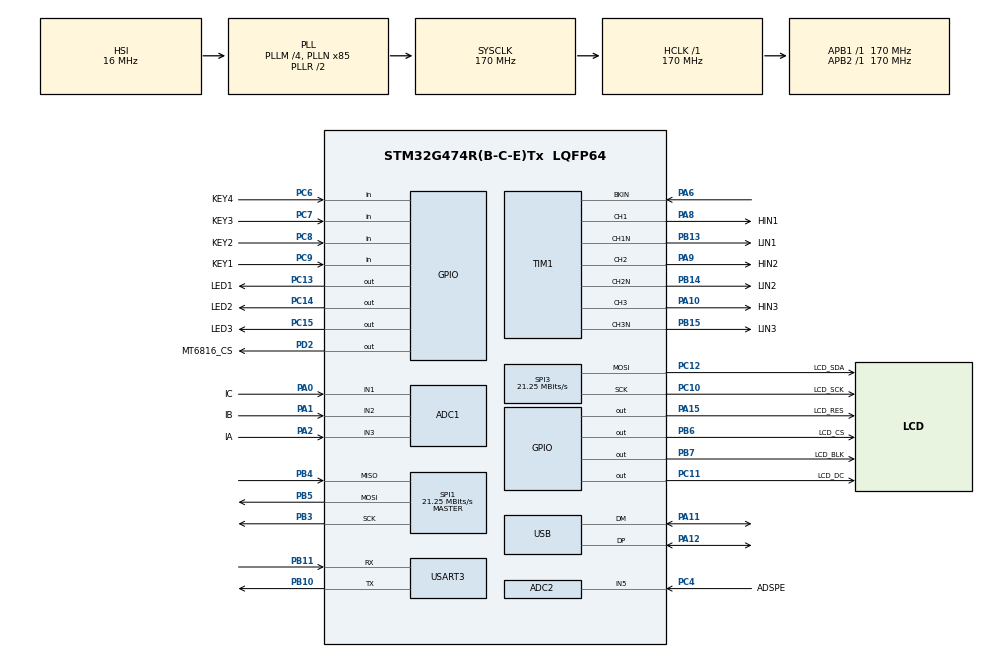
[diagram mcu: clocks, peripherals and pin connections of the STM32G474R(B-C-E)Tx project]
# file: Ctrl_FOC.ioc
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ADC1.EnableInjectedConversion=ENABLE
ADC1.EnableRegularConversion=DISABLE
ADC1.ExternalTrigInjecConv=ADC_EXTERNALTRIGINJEC_T1_CC4
ADC1.InjNumberOfConversion=3
ADC1.InjectedChannel-1\#ChannelInjectedConversion=ADC_CHANNEL_3
ADC1.InjectedChannel-2\#ChannelInjectedConversion=ADC_CHANNEL_2
ADC1.InjectedChannel-3\#ChannelInjectedConversion=ADC_CHANNEL_1
ADC1.InjectedOffsetNumber-1\#ChannelInjectedConversion=ADC_OFFSET_NONE
ADC1.InjectedOffsetNumber-2\#ChannelInjectedConversion=ADC_OFFSET_NONE
ADC1.InjectedOffsetNumber-3\#ChannelInjectedConversion=ADC_OFFSET_NONE
ADC1.InjectedRank-1\#ChannelInjectedConversion=1
ADC1.InjectedRank-2\#ChannelInjectedConversion=2
ADC1.InjectedRank-3\#ChannelInjectedConversion=3
ADC1.InjectedSamplingTime-1\#ChannelInjectedConversion=ADC_SAMPLETIME_2CYCLES_5
ADC1.InjectedSamplingTime-2\#ChannelInjectedConversion=ADC_SAMPLETIME_2CYCLES_5
ADC1.InjectedSamplingTime-3\#ChannelInjectedConversion=ADC_SAMPLETIME_2CYCLES_5
ADC1.Rank1_Channel=ADC_CHANNEL_3
ADC1.Rank2_Channel=ADC_CHANNEL_2
ADC1.Rank3_Channel=ADC_CHANNEL_1
ADC1.master=1
ADC2.Channel-0\#ChannelRegularConversion=ADC_CHANNEL_5
ADC2.NbrOfConversionFlag=1
ADC2.OffsetNumber-0\#ChannelRegularConversion=ADC_OFFSET_NONE
ADC2.Rank-0\#ChannelRegularConversion=1
ADC2.SamplingTime-0\#ChannelRegularConversion=ADC_SAMPLETIME_2CYCLES_5
Dma.Request0=USART3_TX
Dma.USART3_TX.0.Direction=DMA_MEMORY_TO_PERIPH
Dma.USART3_TX.0.EventEnable=DISABLE
Dma.USART3_TX.0.Instance=DMA1_Channel1
Dma.USART3_TX.0.MemDataAlignment=DMA_MDATAALIGN_BYTE
Dma.USART3_TX.0.MemInc=DMA_MINC_ENABLE
Dma.USART3_TX.0.Mode=DMA_NORMAL
Dma.USART3_TX.0.PeriphDataAlignment=DMA_PDATAALIGN_BYTE
Dma.USART3_TX.0.PeriphInc=DMA_PINC_DISABLE
Dma.USART3_TX.0.Polarity=HAL_DMAMUX_REQ_GEN_RISING
Dma.USART3_TX.0.Priority=DMA_PRIORITY_LOW
Dma.USART3_TX.0.RequestNumber=1
Dma.USART3_TX.0.SignalID=NONE
Dma.USART3_TX.0.SyncEnable=DISABLE
Dma.USART3_TX.0.SyncPolarity=HAL_DMAMUX_SYNC_NO_EVENT
Dma.USART3_TX.0.SyncRequestNumber=1
Dma.USART3_TX.0.SyncSignalID=NONE
Mcu.Family=STM32G4
Mcu.Name=STM32G474R(B-C-E)Tx
Mcu.Package=LQFP64
NVIC.ADC1_2_IRQn=true\:0\:0\:false\:false\:true\:true\:true\:true
NVIC.DMA1_Channel1_IRQn=true\:6\:0\:true\:false\:true\:false\:true\:true
NVIC.PriorityGroup=NVIC_PRIORITYGROUP_4
NVIC.TIM1_TRG_COM_TIM17_IRQn=true\:6\:0\:true\:false\:true\:true\:true\:true
NVIC.TIM2_IRQn=true\:0\:0\:false\:false\:true\:true\:true\:true
NVIC.TIM6_DAC_IRQn=true\:15\:0\:false\:false\:true\:false\:true\:true
NVIC.TIM7_DAC_IRQn=true\:0\:0\:false\:false\:true\:true\:true\:true
NVIC.TimeBase=TIM6_DAC_IRQn
NVIC.TimeBaseIP=TIM6
NVIC.USART3_IRQn=true\:6\:0\:true\:false\:true\:true\:true\:true
NVIC.USB_LP_IRQn=true\:6\:0\:true\:false\:true\:false\:true\:true
PA0.GPIO_Label=IC
PA0.Mode=IN1-Single-Ended
PA0.Signal=ADC1_IN1
PA1.GPIO_Label=IB
PA1.Mode=IN2-Single-Ended
PA1.Signal=ADC1_IN2
PA10.GPIO_Label=HIN3
PA10.Signal=S_TIM1_CH3
PA11.Mode=Device
PA11.Signal=USB_DM
PA12.Mode=Device
PA12.Signal=USB_DP
PA13.Mode=Serial_Wire
PA13.Signal=SYS_JTMS-SWDIO
PA14.Mode=Serial_Wire
PA14.Signal=SYS_JTCK-SWCLK
PA15.GPIO_Label=LCD_RES
PA15.Signal=GPIO_Output
PA2.GPIO_Label=IA
PA2.Mode=IN3-Single-Ended
PA2.Signal=ADC1_IN3
PA6.Mode=Activate-Break-Input
PA6.Signal=TIM1_BKIN
PA8.GPIO_Label=HIN1
PA8.Signal=S_TIM1_CH1
PA9.GPIO_Label=HIN2
PA9.Signal=S_TIM1_CH2
PB10.Mode=Asynchronous
PB10.Signal=USART3_TX
PB11.Mode=Asynchronous
PB11.Signal=USART3_RX
PB13.GPIO_Label=LIN1
PB13.Mode=PWM Generation1 CH1 CH1N
PB13.Signal=TIM1_CH1N
PB14.GPIO_Label=LIN2
PB14.Mode=PWM Generation2 CH2 CH2N
PB14.Signal=TIM1_CH2N
PB15.GPIO_Label=LIN3
PB15.Mode=PWM Generation3 CH3 CH3N
PB15.Signal=TIM1_CH3N
PB3.Mode=Full_Duplex_Master
PB3.Signal=SPI1_SCK
PB4.Mode=Full_Duplex_Master
PB4.Signal=SPI1_MISO
PB5.Mode=Full_Duplex_Master
PB5.Signal=SPI1_MOSI
PB6.GPIO_Label=LCD_CS
PB6.Signal=GPIO_Output
PB7.GPIO_Label=LCD_BLK
PB7.Signal=GPIO_Output
PC10.GPIO_Label=LCD_SCK
PC10.Mode=TX_Only_Simplex_Unidirect_Master
PC10.Signal=SPI3_SCK
PC11.GPIO_Label=LCD_DC
PC11.Signal=GPIO_Output
PC12.GPIO_Label=LCD_SDA
PC12.Mode=TX_Only_Simplex_Unidirect_Master
PC12.Signal=SPI3_MOSI
PC13.GPIO_Label=LED1
PC13.Signal=GPIO_Output
PC14-OSC32_IN.GPIO_Label=LED2
PC14-OSC32_IN.Signal=GPIO_Output
PC15-OSC32_OUT.GPIO_Label=LED3
PC15-OSC32_OUT.Signal=GPIO_Output
PC4.GPIO_Label=ADSPE
PC4.Mode=IN5-Single-Ended
PC4.Signal=ADC2_IN5
PC6.GPIO_Label=KEY4
PC6.GPIO_PuPd=GPIO_PULLUP
PC6.Signal=GPIO_Input
PC7.GPIO_Label=KEY3
PC7.GPIO_PuPd=GPIO_PULLUP
PC7.Signal=GPIO_Input
PC8.GPIO_Label=KEY2
PC8.GPIO_PuPd=GPIO_PULLUP
PC8.Signal=GPIO_Input
PC9.GPIO_Label=KEY1
PC9.GPIO_PuPd=GPIO_PULLUP
PC9.Signal=GPIO_Input
PD2.GPIO_Label=MT6816_CS
PD2.Signal=GPIO_Output
PF0-OSC_IN.Mode=HSE-External-Oscillator
PF0-OSC_IN.Signal=RCC_OSC_IN
PF1-OSC_OUT.Mode=HSE-External-Oscillator
PF1-OSC_OUT.Signal=RCC_OSC_OUT
ProjectManager.HeapSize=0x200
ProjectManager.StackSize=0x400
ProjectManager.TargetToolchain=CMake
RCC.ADC12Freq_Value=170000000
RCC.ADC345Freq_Value=170000000
RCC.AHBFreq_Value=170000000
RCC.APB1Freq_Value=170000000
RCC.APB1TimFreq_Value=170000000
RCC.APB2Freq_Value=170000000
RCC.APB2TimFreq_Value=170000000
RCC.CK48CLockSelection=RCC_USBCLKSOURCE_HSI48
RCC.CortexFreq_Value=170000000
RCC.EXTERNAL_CLOCK_VALUE=12288000
RCC.HCLKFreq_Value=170000000
RCC.HSE_VALUE=8000000
RCC.HSI48_VALUE=48000000
RCC.HSI_VALUE=16000000
RCC.LSE_VALUE=32768
RCC.PLLM=RCC_PLLM_DIV4
RCC.PLLN=85
RCC.PLLQ=RCC_PLLQ_DIV4
RCC.SYSCLKFreq_VALUE=170000000
RCC.SYSCLKSource=RCC_SYSCLKSOURCE_PLLCLK
RCC.USBFreq_Value=48000000
RCC.VCOOutputFreq_Value=340000000
SH.S_TIM1_CH1.0=TIM1_CH1,PWM Generation1 CH1 CH1N
SH.S_TIM1_CH2.0=TIM1_CH2,PWM Generation2 CH2 CH2N
SH.S_TIM1_CH3.0=TIM1_CH3,PWM Generation3 CH3 CH3N
SPI1.BaudRatePrescaler=SPI_BAUDRATEPRESCALER_8
SPI1.CLKPhase=SPI_PHASE_2EDGE
SPI1.CLKPolarity=SPI_POLARITY_HIGH
SPI1.CalculateBaudRate=21.25 MBits/s
SPI1.DataSize=SPI_DATASIZE_16BIT
SPI1.Direction=SPI_DIRECTION_2LINES
SPI1.Mode=SPI_MODE_MASTER
SPI1.VirtualType=VM_MASTER
SPI3.BaudRatePrescaler=SPI_BAUDRATEPRESCALER_8
SPI3.CLKPolarity=SPI_POLARITY_HIGH
SPI3.CalculateBaudRate=21.25 MBits/s
SPI3.DataSize=SPI_DATASIZE_8BIT
SPI3.Direction=SPI_DIRECTION_2LINES
SPI3.Mode=SPI_MODE_MASTER
SPI3.VirtualType=VM_MASTER
STMicroelectronics.X-CUBE-ALGOBUILD.1.4.0.LibraryCcDSPOoLibraryJjDSPOoLibrary=true
TIM1.Channel-PWM\ Generation1\ CH1\ CH1N=TIM_CHANNEL_1
TIM1.Channel-PWM\ Generation2\ CH2\ CH2N=TIM_CHANNEL_2
TIM1.Channel-PWM\ Generation3\ CH3\ CH3N=TIM_CHANNEL_3
TIM1.Channel-PWM\ Generation4\ No\ Output=TIM_CHANNEL_4
TIM1.OCMode_PWM-PWM\ Generation4\ No\ Output=TIM_OCMODE_PWM2
TIM1.PeriodNoDither=HALF_PWM_PERIOD_CYCLES
TIM1.PulseNoDither_4=HALF_PWM_PERIOD_CYCLES-2
TIM2.PeriodNoDither=1000-1
TIM2.Prescaler=72-1
TIM7.PeriodNoDither=9
TIM7.Prescaler=16999
USART3.VirtualMode-Asynchronous=VM_ASYNC
USB_DEVICE.APP_RX_DATA_SIZE=2048
USB_DEVICE.APP_TX_DATA_SIZE=2048
USB_DEVICE.CLASS_NAME_FS=CDC
USB_DEVICE.VirtualMode=Cdc
USB_DEVICE.VirtualModeFS=Cdc_FS
VP_STMicroelectronics.X-CUBE-ALGOBUILD_VS_DSPOoLibraryJjLibrary_1.4.0_1.4.0.Mode=DSPOoLibraryJjLibrary
VP_SYS_VS_DBSignals.Mode=DisableDeadBatterySignals
VP_SYS_VS_tim6.Mode=TIM6
VP_TIM1_VS_ClockSourceINT.Mode=Internal
VP_TIM1_VS_no_output4.Mode=PWM Generation4 No Output
VP_TIM2_VS_ClockSourceINT.Mode=Internal
VP_TIM7_VS_ClockSourceINT.Mode=Enable_Timer
VP_USB_DEVICE_VS_USB_DEVICE_CDC_FS.Mode=CDC_FS
board=custom

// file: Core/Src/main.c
/* USER CODE BEGIN Header */
/**
  ******************************************************************************
  * @file           : main.c
  * @brief          : Main program body
  ******************************************************************************
  * @attention
  *
  * Copyright (c) 2025 STMicroelectronics.
  * All rights reserved.
  *
  * This software is licensed under terms that can be found in the LICENSE file
  * in the root directory of this software component.
  * If no LICENSE file comes with this software, it is provided AS-IS.
  *
  ******************************************************************************
  */
/* USER CODE END Header */
#include "main.h"
#include "adc.h"
#include "dma.h"
#include "spi.h"
#include "tim.h"
#include "usart.h"
#include "usb_device.h"
#include "gpio.h"

/* USER CODE BEGIN Includes */
#include "retarget.h"
#include "app.h"
/* USER CODE END Includes */

void SystemClock_Config(void);

int main(void)
{

  /* MCU Configuration--------------------------------------------------------*/

  /* Reset of all peripherals, Initializes the Flash interface and the Systick. */
  HAL_Init();

  /* Configure the system clock */
  SystemClock_Config();

  /* Initialize all configured peripherals */
  MX_GPIO_Init();
  MX_DMA_Init();
  MX_USART3_UART_Init();
  MX_ADC1_Init();
  MX_ADC2_Init();
  MX_SPI1_Init();
  MX_SPI3_Init();
  MX_TIM1_Init();
  MX_TIM7_Init();
  MX_USB_Device_Init();
  MX_TIM2_Init();
  /* USER CODE BEGIN 2 */
  RetargetInit(&huart3);
  DWT_Delay_Init();
  app_main();
  /* USER CODE END 2 */

  /* Infinite loop */
  while (1)
  {

  }
}

void SystemClock_Config(void)
{
  RCC_OscInitTypeDef RCC_OscInitStruct = {0};
  RCC_ClkInitTypeDef RCC_ClkInitStruct = {0};

  /** Configure the main internal regulator output voltage
  */
  HAL_PWREx_ControlVoltageScaling(PWR_REGULATOR_VOLTAGE_SCALE1_BOOST);

  /** Initializes the RCC Oscillators according to the specified parameters
  * in the RCC_OscInitTypeDef structure.
  */
  RCC_OscInitStruct.OscillatorType = RCC_OSCILLATORTYPE_HSI|RCC_OSCILLATORTYPE_HSI48;
  RCC_OscInitStruct.HSIState = RCC_HSI_ON;
  RCC_OscInitStruct.HSICalibrationValue = RCC_HSICALIBRATION_DEFAULT;
  RCC_OscInitStruct.HSI48State = RCC_HSI48_ON;
  RCC_OscInitStruct.PLL.PLLState = RCC_PLL_ON;
  RCC_OscInitStruct.PLL.PLLSource = RCC_PLLSOURCE_HSI;
  RCC_OscInitStruct.PLL.PLLM = RCC_PLLM_DIV4;
  RCC_OscInitStruct.PLL.PLLN = 85;
  RCC_OscInitStruct.PLL.PLLP = RCC_PLLP_DIV2;
  RCC_OscInitStruct.PLL.PLLQ = RCC_PLLQ_DIV4;
  RCC_OscInitStruct.PLL.PLLR = RCC_PLLR_DIV2;
  if (HAL_RCC_OscConfig(&RCC_OscInitStruct) != HAL_OK)
  {
    Error_Handler();
  }

  /** Initializes the CPU, AHB and APB buses clocks
  */
  RCC_ClkInitStruct.ClockType = RCC_CLOCKTYPE_HCLK|RCC_CLOCKTYPE_SYSCLK
                              |RCC_CLOCKTYPE_PCLK1|RCC_CLOCKTYPE_PCLK2;
  RCC_ClkInitStruct.SYSCLKSource = RCC_SYSCLKSOURCE_PLLCLK;
  RCC_ClkInitStruct.AHBCLKDivider = RCC_SYSCLK_DIV1;
  RCC_ClkInitStruct.APB1CLKDivider = RCC_HCLK_DIV1;
  RCC_ClkInitStruct.APB2CLKDivider = RCC_HCLK_DIV1;

  if (HAL_RCC_ClockConfig(&RCC_ClkInitStruct, FLASH_LATENCY_4) != HAL_OK)
  {
    Error_Handler();
  }
}

/* USER CODE BEGIN 4 */

/**
 * @brief  Initializes DWT_Clock_Cycle_Count for DWT_Delay_us function
 * @return Error DWT counter
 *         1: clock cycle counter not started
 *         0: clock cycle counter works
 */
uint32_t DWT_Delay_Init(void) {
  /* Disable TRC */
  CoreDebug->DEMCR &= ~CoreDebug_DEMCR_TRCENA_Msk; // ~0x01000000;
  /* Enable TRC */
  CoreDebug->DEMCR |=  CoreDebug_DEMCR_TRCENA_Msk; // 0x01000000;

  /* Disable clock cycle counter */
  DWT->CTRL &= ~DWT_CTRL_CYCCNTENA_Msk; //~0x00000001;
  /* Enable  clock cycle counter */
  DWT->CTRL |=  DWT_CTRL_CYCCNTENA_Msk; //0x00000001;

  /* Reset the clock cycle counter value */
  DWT->CYCCNT = 0;

  /* 3 NO OPERATION instructions */
  __ASM volatile ("NOP");
  __ASM volatile ("NOP");
  __ASM volatile ("NOP");

  /* Check if clock cycle counter has started */
  if(DWT->CYCCNT)
  {
    return 0; /*clock cycle counter started*/
  }
  else
  {
    return 1; /*clock cycle counter not started*/
  }
}

/**
 * @brief  This function provides a delay (in microseconds)
 * @param  microseconds: delay in microseconds
 */
void DWT_Delay_us(volatile uint32_t microseconds)
{
  uint32_t clk_cycle_start = DWT->CYCCNT;

  /* Go to number of cycles for system */
  microseconds *= (HAL_RCC_GetHCLKFreq() / 1000000);

  /* Delay till end */
  while ((DWT->CYCCNT - clk_cycle_start) < microseconds);
}

/* USER CODE END 4 */

void HAL_TIM_PeriodElapsedCallback(TIM_HandleTypeDef *htim)
{
  if (htim->Instance == TIM6)
  {
    HAL_IncTick();
  }
}

void Error_Handler(void)
{
  __disable_irq();
  while (1)
  {
  }
}
